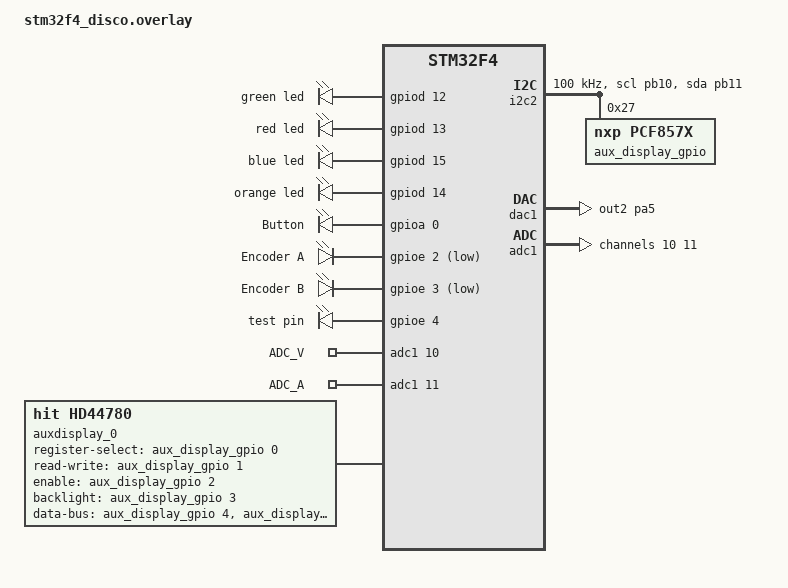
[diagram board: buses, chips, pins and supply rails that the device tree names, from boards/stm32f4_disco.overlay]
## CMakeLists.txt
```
# SPDX-License-Identifier: Apache-2.0 OR MIT

cmake_minimum_required(VERSION 3.20.0)
find_package(Zephyr REQUIRED HINTS $ENV{ZEPHYR_BASE})
project(blinky)

file(GLOB SRC_C_FILES CONFIGURE_DEPENDS "src/*.c")
target_sources(app PRIVATE ${SRC_C_FILES})

rust_cargo_application()
```

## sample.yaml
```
# See doc/develop/test/twister.rst for what is here.
sample:
  name: Driver Sample
common:
  filter: CONFIG_RUST_SUPPORTED
  platform_allow:
    - qemu_cortex_m0
    - qemu_cortex_m3
    - qemu_riscv32
    - qemu_riscv64
    - nrf52840dk/nrf52840
    - stm32f4_disco
    - rpi_pico
tests:
  sample.basic.drivers:
    tags:
      - I2C
      - gpio      
    filter: dt_enabled_alias_with_parent_compat("led0", "gpio-leds")
    depends_on: gpio
    harness: led
    integration_platforms:
      - stm32f4_disco
```

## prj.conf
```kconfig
CONFIG_GPIO=y

CONFIG_ADC=y
CONFIG_ADC_ASYNC=y

CONFIG_RUST=y
CONFIG_RUST_ALLOC=y

CONFIG_DEBUG=y
CONFIG_MAIN_STACK_SIZE=8192
CONFIG_HEAP_MEM_POOL_SIZE=2048

CONFIG_GPIO_ENABLE_DISABLE_INTERRUPT=y

CONFIG_GPIO_PCF857X=y
CONFIG_AUXDISPLAY=y
#CONFIG_ADC_STM32_DMA=y

#CONFIG_LOG=y
#CONFIG_LOG_DEFAULT_LEVEL=4

#Verify that userspace builds work.
#CONFIG_USERSPACE=y
```

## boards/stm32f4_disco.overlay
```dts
#include "stm32f4_disco.dtsi"

&i2c2 {
	pinctrl-0 = <&i2c2_scl_pb10 &i2c2_sda_pb11>;
	pinctrl-names = "default";
	status = "okay";
	clock-frequency = <I2C_BITRATE_STANDARD>;
	aux_display_gpio: pcf8574@27 {
		compatible = "nxp,pcf857x";
		reg = <0x27>;
		gpio-controller;
		ngpios = <8>;
		#gpio-cells = <2>;
	};
};

&dac1 {
	pinctrl-0 = <&dac_out2_pa5>;
	pinctrl-names = "default";	
	status = "okay";
};

/ {
	gpios {
		compatible = "gpio-leds";
		led_green: led_green {
			gpios = <&gpiod 12 GPIO_ACTIVE_HIGH>;
			label = "green led";
		};
		led_red: led_red {
			gpios = <&gpiod 13 GPIO_ACTIVE_HIGH>;
			label = "red led";
		};		
		led_blue: led_blue {
			gpios = <&gpiod 15 GPIO_ACTIVE_HIGH>;
			label = "blue led";
		};				
		led_orange: led_orange {
			gpios = <&gpiod 14 GPIO_ACTIVE_HIGH>;
			label = "orange led";
		};		
		button: button {
			gpios = <&gpioa 0 (GPIO_PULL_DOWN | GPIO_ACTIVE_HIGH)>;
			label = "Button";
		};
		encoder_a: encoder_a {
			gpios = <&gpioe 2 (GPIO_PULL_UP | GPIO_ACTIVE_LOW)>;
			label = "Encoder A";
		};
		encoder_b: encoder_b {
			gpios = <&gpioe 3 (GPIO_PULL_UP | GPIO_ACTIVE_LOW)>;
			label = "Encoder B";
		};	
		test_pin: test_pin {
			gpios = <&gpioe 4 (GPIO_ACTIVE_HIGH)>;
			label = "test pin";
		};								
	};	
	zephyr,user {
		/* adjust channel number according to pinmux in board.dts */
		io-channels = <&adc1 10>, <&adc1 11>;
		io-channel-names = "ADC_V", "ADC_A";
		//dac = <&dac1>;
		//dac-channel-id = <2>;
		//dac-resolution = <12>;			
	};		
	auxdisplay_0: hd44780 {
		compatible = "hit,hd44780";
		columns = <16>;
		rows = <2>;
		mode = <4>;
		boot-delay-ms = <100>;
		register-select-gpios = <&aux_display_gpio 0 (GPIO_ACTIVE_HIGH)>;
		read-write-gpios    = <&aux_display_gpio 1 (GPIO_ACTIVE_HIGH)>;
		enable-gpios        = <&aux_display_gpio 2 (GPIO_ACTIVE_HIGH)>;
		backlight-gpios     = <&aux_display_gpio 3 (GPIO_ACTIVE_HIGH)>;
		data-bus-gpios      = <0>, <0>, <0>, <0>,
				<&aux_display_gpio 4 (GPIO_ACTIVE_HIGH)>,
				<&aux_display_gpio 5 (GPIO_ACTIVE_HIGH)>,
				<&aux_display_gpio 6 (GPIO_ACTIVE_HIGH)>,
				<&aux_display_gpio 7 (GPIO_ACTIVE_HIGH)>;
	};	
};

&adc1 {
	#address-cells = <1>;
	#size-cells = <0>;
 
	channel@10 {
		reg = <10>;
		zephyr,gain = "ADC_GAIN_1";
		zephyr,reference = "ADC_REF_INTERNAL";
		zephyr,acquisition-time = <ADC_ACQ_TIME_DEFAULT>;
		zephyr,resolution = <12>;
	};
	channel@11 {
		reg = <11>;
		zephyr,gain = "ADC_GAIN_1";
		zephyr,reference = "ADC_REF_INTERNAL";
		zephyr,acquisition-time = <ADC_ACQ_TIME_DEFAULT>;
		zephyr,resolution = <12>;
	};	
};
```

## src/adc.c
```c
// Copyright (c) 2025
// SPDX-License-Identifier: Apache-2.0
// Coskun ERGAN <coskunergan@gmail.com>

#include <zephyr/kernel.h>
#include <zephyr/devicetree.h>
#include <zephyr/drivers/adc.h>

#if !DT_NODE_EXISTS(DT_PATH(zephyr_user)) || \
	!DT_NODE_HAS_PROP(DT_PATH(zephyr_user), io_channels)
#error "No suitable devicetree overlay specified"
#endif

#define DT_SPEC_AND_COMMA(node_id, prop, idx) \
	ADC_DT_SPEC_GET_BY_IDX(node_id, idx),

// Global adc_channels dizisi
const struct adc_dt_spec adc_channels[] = {
	DT_FOREACH_PROP_ELEM(DT_PATH(zephyr_user), io_channels, DT_SPEC_AND_COMMA)
};

// adc_channels uzunluğu
const size_t adc_channels_len = ARRAY_SIZE(adc_channels);

// adc_channels ve uzunluğuna erişim fonksiyonları
const struct adc_dt_spec *get_adc_channels(void) {
	return adc_channels;
}

const size_t get_adc_channels_len(void) {
	return adc_channels_len;
}

// Fonksiyon işaretçisi türü
typedef void (*adc_callback_t)(void *, size_t, int16_t);

// IsrContext yapısı
struct adc_isr_context {
	struct k_work work;
	int16_t buffer;
	int16_t *sample;
	adc_callback_t done_cb;
	adc_callback_t done_cb_isr;
	enum adc_action state;
	struct adc_obj *self;
	void *user_data;
};

// ADC nesnesi
struct adc_obj {
	struct adc_sequence_options options;
	struct adc_sequence sequence;
	size_t channel_count;
	size_t channel_index;
	struct adc_isr_context isr_context;
};

// Prototip fonksiyonlar
static void adc_soft_isr(struct k_work *work);
static enum adc_action adc_hard_isr(const struct device *dev, const struct adc_sequence *seq, uint16_t sampling_index);

// ADC nesnesi oluşturma
struct adc_obj *adc_new(void) {
	struct adc_obj *adc = k_malloc(sizeof(struct adc_obj));
	if (!adc) {
		return NULL;
	}

	adc->channel_count = adc_channels_len;
	if (adc->channel_count == 0) {
		k_free(adc);
		return NULL;
	}

	// Kanalları yapılandır
	for (size_t i = 0; i < adc->channel_count; i++) {
		if (!device_is_ready(adc_channels[i].dev)) {
			k_free(adc);
			return NULL;
		}
		int err = adc_channel_setup_dt(&adc_channels[i]);
		if (err < 0) {
			k_free(adc);
			return NULL;
		}
	}

	// IsrContext başlatma
	adc->isr_context.sample = k_malloc(adc->channel_count * sizeof(int16_t));
	if (!adc->isr_context.sample) {
		k_free(adc);
		return NULL;
	}
	for (size_t i = 0; i < adc->channel_count; i++) {
		adc->isr_context.sample[i] = 0;
	}

	adc->channel_index = 0;
	adc->isr_context.buffer = 0;
	adc->isr_context.done_cb = NULL;
	adc->isr_context.done_cb_isr = NULL;
	adc->isr_context.state = ADC_ACTION_CONTINUE;
	adc->isr_context.self = adc;
	adc->isr_context.user_data = NULL;

	k_work_init(&adc->isr_context.work, adc_soft_isr);

	adc->options = (struct adc_sequence_options){
		.interval_us = 0,
		.callback = adc_hard_isr,
		.user_data = &adc->isr_context,
		.extra_samplings = 0,
	};

	return adc;
}

// Asenkron okuma
int adc_async_read(struct adc_obj *adc, uint32_t interval_us, adc_callback_t handler, void *user_data) {
	if (!adc || adc->channel_index >= adc->channel_count) {
		return -EINVAL;
	}

	adc->options.interval_us = interval_us;

	adc->sequence = (struct adc_sequence){
		.options = &adc->options,
		.channels = BIT(adc_channels[adc->channel_index].channel_cfg.channel_id),
		.buffer = &adc->isr_context.buffer,
		.buffer_size = sizeof(adc->isr_context.buffer),
		.resolution = adc_channels[adc->channel_index].resolution,
		.calibrate = false,
		.oversampling = 0,
	};

	adc->isr_context.done_cb = handler;
	adc->isr_context.done_cb_isr = NULL;
	adc->isr_context.state = ADC_ACTION_CONTINUE;
	adc->isr_context.user_data = user_data;

	return adc_read_async(adc_channels[adc->channel_index].dev, &adc->sequence, NULL);
}

// ISR için asenkron okuma
int adc_async_read_isr(struct adc_obj *adc, uint32_t interval_us, adc_callback_t handler, void *user_data) {
	if (!adc || adc->channel_index >= adc->channel_count) {
		return -EINVAL;
	}

	adc->options.interval_us = interval_us;

	adc->sequence = (struct adc_sequence){
		.options = &adc->options,
		.channels = BIT(adc_channels[adc->channel_index].channel_cfg.channel_id),
		.buffer = &adc->isr_context.buffer,
		.buffer_size = sizeof(adc->isr_context.buffer),
		.resolution = adc_channels[adc->channel_index].resolution,
		.calibrate = false,
		.oversampling = 0,
	};

	adc->isr_context.done_cb = NULL;
	adc->isr_context.done_cb_isr = handler;
	adc->isr_context.state = ADC_ACTION_CONTINUE;
	adc->isr_context.user_data = user_data;

	return adc_read_async(adc_channels[adc->channel_index].dev, &adc->sequence, NULL);
}

// Okumayı iptal etme
void adc_cancel_read(struct adc_obj *adc) {
	if (adc) {
		adc->isr_context.state = ADC_ACTION_FINISH;
	}
}

// Voltaj alma
int32_t adc_get_voltage(struct adc_obj *adc, size_t idx) {
	if (!adc || idx >= adc->channel_count) {
		return 0;
	}
	int32_t val_mv = adc->isr_context.sample[idx];
	if (adc_channels[idx].channel_cfg.differential) {
		val_mv = (int32_t)((int16_t)val_mv);
	}
	adc_raw_to_millivolts_dt(&adc_channels[idx], &val_mv);
	return val_mv;
}

// Ham değer alma
int32_t adc_get_value(struct adc_obj *adc, size_t idx) {
	if (!adc || idx >= adc->channel_count) {
		return 0;
	}
	int32_t val = adc->isr_context.sample[idx];
	if (adc_channels[idx].channel_cfg.differential) {
		val = (int32_t)((int16_t)val);
	}
	return val;
}

// ADC nesnesini serbest bırakma
void adc_free(struct adc_obj *adc) {
	if (adc) {
		k_free(adc->isr_context.sample);
		k_free(adc);
	}
}

// Soft ISR
static void adc_soft_isr(struct k_work *work) {
	struct adc_isr_context *context = CONTAINER_OF(work, struct adc_isr_context, work);
	struct adc_obj *adc = context->self;

	if (adc->channel_count > 1) {
		size_t next_index = adc->channel_index;
		if (next_index < adc->channel_count) {
			adc->sequence.channels = BIT(adc_channels[next_index].channel_cfg.channel_id);
			adc->sequence.resolution = adc_channels[next_index].resolution;
			int res = adc_read_async(adc_channels[next_index].dev, &adc->sequence, NULL);
			if (res != 0) {
				return;
			}
		}
	}

	if (context->done_cb) {
		size_t idx = (adc->channel_index == 0) ? (adc->channel_count - 1) : (adc->channel_index - 1);
		if (idx < adc->channel_count) {
			context->done_cb(context->user_data, idx, context->sample[idx]);
		}
	}
}

// Hard ISR
static enum adc_action adc_hard_isr(const struct device *dev, const struct adc_sequence *seq, uint16_t sampling_index) {
	struct adc_isr_context *context = seq->options->user_data;
	struct adc_obj *adc = context->self;

	if (adc->channel_index < adc->channel_count) {
		context->sample[adc->channel_index] = context->buffer;
	}

	if (context->state != ADC_ACTION_FINISH) {
		if (adc->channel_count == 1) {
			context->state = ADC_ACTION_REPEAT;
			if (context->done_cb_isr) {
				context->done_cb_isr(context->user_data, 0, context->sample[0]);
			} else {
				k_work_submit(&context->work);
			}
		} else if (++adc->channel_index < adc->channel_count) {
			context->state = ADC_ACTION_CONTINUE;
			if (context->done_cb_isr) {
				context->done_cb_isr(context->user_data, adc->channel_index - 1, context->sample[adc->channel_index - 1]);
			} else {
				k_work_submit(&context->work);
			}
		} else {
			if (context->state != ADC_ACTION_REPEAT) {
				context->state = ADC_ACTION_REPEAT;
				adc->channel_index--;
			} else {
				context->state = ADC_ACTION_CONTINUE;
				adc->channel_index = 0;
				if (context->done_cb_isr) {
					context->done_cb_isr(context->user_data, adc->channel_count - 1, context->sample[adc->channel_count - 1]);
				} else {
					k_work_submit(&context->work);
				}
			}
		}
	}

	return context->state;
}
```

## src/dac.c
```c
// Copyright (c) 2025
// SPDX-License-Identifier: Apache-2.0
// Coskun ERGAN <coskunergan@gmail.com>

#include <zephyr/kernel.h>
#include <zephyr/devicetree.h>
#include <zephyr/drivers/dac.h>

#if !DT_NODE_HAS_PROP(DT_PATH(zephyr_user), dac) || \
	!DT_NODE_HAS_PROP(DT_PATH(zephyr_user), dac_channel_id) || \
	!DT_NODE_HAS_PROP(DT_PATH(zephyr_user), dac_resolution)
#error "DAC properties missing in devicetree"
#endif

#define DAC_NODE DT_PHANDLE(DT_PATH(zephyr_user), dac)
#define DAC_CHANNEL_ID DT_PROP(DT_PATH(zephyr_user), dac_channel_id)
#define DAC_RESOLUTION DT_PROP(DT_PATH(zephyr_user), dac_resolution)

static const struct device *const dac_dev = DEVICE_DT_GET(DAC_NODE);

static const struct dac_channel_cfg dac_ch_cfg = {
	.channel_id = DAC_CHANNEL_ID,
	.resolution = DAC_RESOLUTION,
	.buffered = true
};

int dac_init(void) {
	if (!device_is_ready(dac_dev)) {
		return -ENODEV;
	}

	int ret = dac_channel_setup(dac_dev, &dac_ch_cfg);
	if (ret != 0) {
		return ret;
	}

	return 0;
}

int dac_write(int32_t value) {
	return dac_write_value(dac_dev, DAC_CHANNEL_ID, value);
}
```
